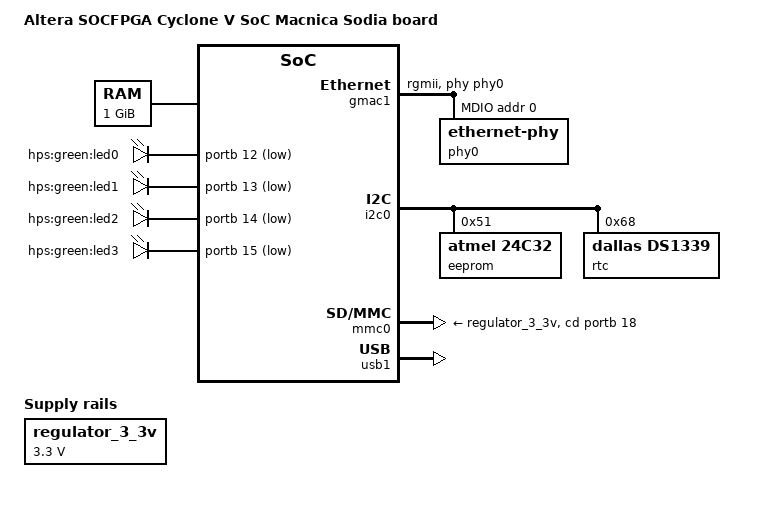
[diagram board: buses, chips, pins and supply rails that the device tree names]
/*
 *  Copyright (C) 2016 Nobuhiro Iwamatsu <iwamatsu@nigauri.org>
 *
 * This program is free software; you can redistribute it and/or modify
 * it under the terms of the GNU General Public License as published by
 * the Free Software Foundation; either version 2 of the License, or
 * (at your option) any later version.
 *
 * This program is distributed in the hope that it will be useful,
 * but WITHOUT ANY WARRANTY; without even the implied warranty of
 * MERCHANTABILITY or FITNESS FOR A PARTICULAR PURPOSE.  See the
 * GNU General Public License for more details.
 *
 * You should have received a copy of the GNU General Public License
 * along with this program.  If not, see <http://www.gnu.org/licenses/>.
 */

#include "socfpga_cyclone5.dtsi"
#include <dt-bindings/gpio/gpio.h>
#include <dt-bindings/input/input.h>

/ {
	model = "Altera SOCFPGA Cyclone V SoC Macnica Sodia board";
	compatible = "macnica,sodia", "altr,socfpga-cyclone5", "altr,socfpga";

	chosen {
		bootargs = "earlyprintk";
		stdout-path = "serial0:115200n8";
	};

	memory {
		name = "memory";
		device_type = "memory";
		reg = <0x0 0x40000000>;
	};

	aliases {
		ethernet0 = &gmac1;
	};

	regulator_3_3v: 3-3-v-regulator {
		compatible = "regulator-fixed";
		regulator-name = "3.3V";
		regulator-min-microvolt = <3300000>;
		regulator-max-microvolt = <3300000>;
	};

	leds: gpio-leds {
		compatible = "gpio-leds";

		hps_led0 {
			label = "hps:green:led0";
			gpios = <&portb 12 GPIO_ACTIVE_LOW>;
		};

		hps_led1 {
			label = "hps:green:led1";
			gpios = <&portb 13 GPIO_ACTIVE_LOW>;
		};

		hps_led2 {
			label = "hps:green:led2";
			gpios = <&portb 14 GPIO_ACTIVE_LOW>;
		};

		hps_led3 {
			label = "hps:green:led3";
			gpios = <&portb 15 GPIO_ACTIVE_LOW>;
		};
	};
};

&gmac1 {
	status = "okay";
	phy-mode = "rgmii";
	phy = <&phy0>;

	mdio0 {
		#address-cells = <1>;
		#size-cells = <0>;
		phy0: ethernet-phy@0 {
			reg = <0>;
			rxd0-skew-ps = <0>;
			rxd1-skew-ps = <0>;
			rxd2-skew-ps = <0>;
			rxd3-skew-ps = <0>;
			rxdv-skew-ps = <0>;
			rxc-skew-ps = <3000>;
			txen-skew-ps = <0>;
			txc-skew-ps = <3000>;
		};
	};
};

&gpio1 {
	status = "okay";
};

&i2c0 {
	status = "okay";

	eeprom@51 {
		compatible = "atmel,24c32";
		reg = <0x51>;
		pagesize = <32>;
	};

	rtc@68 {
		compatible = "dallas,ds1339";
		reg = <0x68>;
	};
};

&mmc0 {
	cd-gpios = <&portb 18 0>;
	vmmc-supply = <&regulator_3_3v>;
	vqmmc-supply = <&regulator_3_3v>;
	status = "okay";
};

&usb1 {
	status = "okay";
};
